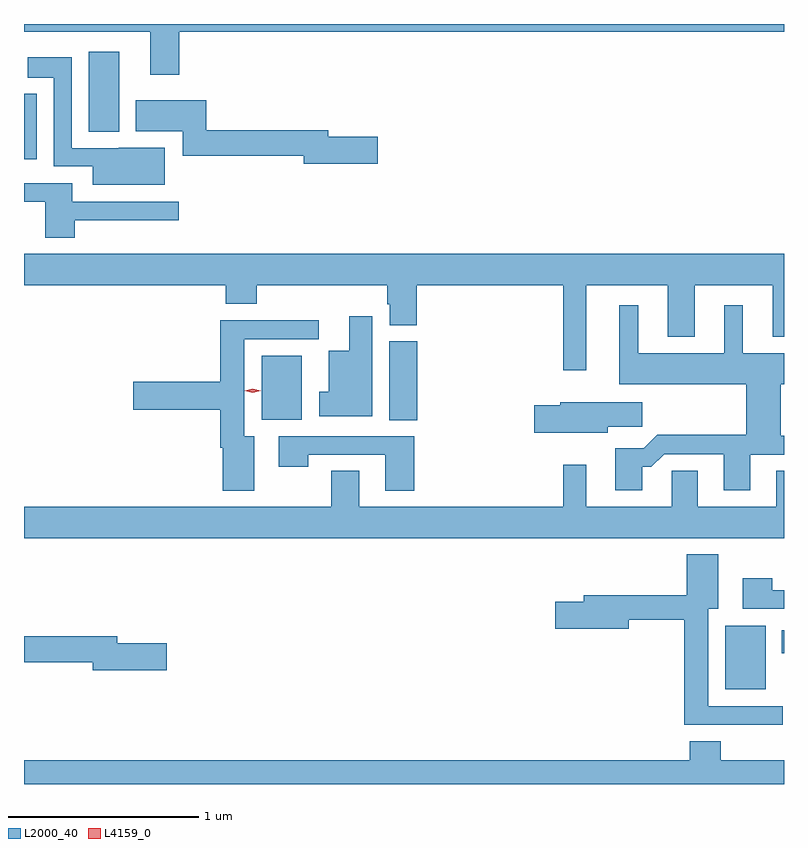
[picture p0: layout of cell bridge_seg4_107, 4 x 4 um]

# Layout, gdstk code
import gdstk
lib = gdstk.Library(unit=1e-6, precision=1e-09)
def R(c, l, rs):  # rectangles x0, y0, x1, y1
    for r in rs: c.add(gdstk.rectangle(r[:2], r[2:], *l))
def P(c, l, *ps):  # polygons
    for p in ps: c.add(gdstk.Polygon(p, *l))
L2000_40 = (2000, 40)
L4159_0 = (4159, 0)

bridge_seg4_107 = lib.new_cell('bridge_seg4_107')
R(bridge_seg4_107, L2000_40, [(540.746,765.389,540.958,765.724), (541.043,765.578,541.054,765.7), (538.976,766.804,539.123,767.22), (538.304,766.808,538.516,767.143), (537.054,768.177,537.121,768.523), (537.395,768.323,537.556,768.745)])
P(bridge_seg4_107, L2000_40, [(537.872,768.848),(541.054,768.848),(541.054,768.89),(537.054,768.89),(537.054,768.848),(537.719,768.848),(537.719,768.624),(537.872,768.624)],
  [(537.796,768.238),(537.552,768.238),(537.552,768.237),(537.306,768.237),(537.306,768.715),(537.075,768.715),(537.075,768.608),(537.21,768.608),(537.21,768.141),(537.416,768.141),(537.416,768.044),(537.796,768.044)],
  [(538.915,768.296),(538.654,768.296),(538.654,768.332),(538.013,768.332),(538.013,768.49),(537.641,768.49),(537.641,768.326),(537.89,768.326),(537.89,768.196),(538.526,768.196),(538.526,768.154),(538.915,768.154)],
  [(537.32,767.858),(537.868,767.858),(537.868,767.955),(537.307,767.955),(537.307,768.051),(537.054,768.051),(537.054,767.955),(537.167,767.955),(537.167,767.766),(537.32,767.766)],
  [(540.013,767.516),(540.443,767.516),(540.443,767.243),(540.583,767.243),(540.583,767.516),(540.995,767.516),(540.995,767.243),(541.054,767.243),(541.054,767.68),(537.054,767.68),(537.054,767.516),(538.115,767.516),(538.115,767.417),(538.28,767.417),(538.28,767.516),(538.967,767.516),(538.967,767.415),(538.979,767.415),(538.979,767.305),(539.12,767.305),(539.12,767.516),(539.892,767.516),(539.892,767.067),(540.013,767.067)],
  [(540.307,766.559),(540.356,766.559),(540.423,766.626),(540.737,766.626),(540.737,766.437),(540.877,766.437),(540.877,766.623),(541.054,766.623),(541.054,766.724),(541.037,766.724),(541.037,766.994),(541.054,766.994),(541.054,767.158),(540.838,767.158),(540.838,767.41),(540.74,767.41),(540.74,767.158),(540.286,767.158),(540.286,767.41),(540.188,767.41),(540.188,766.994),(540.854,766.994),(540.854,766.727),(540.386,766.727),(540.316,766.657),(540.167,766.657),(540.167,766.437),(540.307,766.437)],
  [(538.888,767.353),(538.766,767.353),(538.766,767.17),(538.658,767.17),(538.658,766.954),(538.607,766.954),(538.607,766.826),(538.888,766.826)],
  [(538.267,766.72),(538.213,766.72),(538.213,767.232),(538.606,767.232),(538.606,767.33),(538.088,767.33),(538.088,767.006),(537.63,767.006),(537.63,766.859),(538.088,766.859),(538.088,766.661),(538.1,766.661),(538.1,766.434),(538.267,766.434)],
  [(540.127,766.771),(540.307,766.771),(540.307,766.9),(539.876,766.9),(539.876,766.883),(539.739,766.883),(539.739,766.739),(540.127,766.739)],
  [(539.108,766.719),(538.395,766.719),(538.395,766.56),(538.551,766.56),(538.551,766.623),(538.955,766.623),(538.955,766.434),(539.108,766.434)],
  [(541.054,766.538),(541.013,766.538),(541.013,766.348),(540.601,766.348),(540.601,766.538),(540.462,766.538),(540.462,766.348),(540.013,766.348),(540.013,766.57),(539.892,766.57),(539.892,766.348),(538.819,766.348),(538.819,766.538),(538.672,766.538),(538.672,766.348),(537.054,766.348),(537.054,766.184),(541.054,766.184)],
  [(541.048,765.3),(540.655,765.3),(540.655,765.812),(540.709,765.812),(540.709,766.099),(540.542,766.099),(540.542,765.883),(539.999,765.883),(539.999,765.849),(539.85,765.849),(539.85,765.707),(540.238,765.707),(540.238,765.754),(540.53,765.754),(540.53,765.203),(541.048,765.203)],
  [(541.054,765.909),(540.993,765.909),(540.993,765.973),(540.837,765.973),(540.837,765.813),(541.054,765.813)],
  [(537.805,765.632),(537.544,765.632),(537.544,765.668),(537.054,765.668),(537.054,765.532),(537.416,765.532),(537.416,765.49),(537.805,765.49)],
  [(541.054,765.016),(540.722,765.016),(540.722,765.115),(540.557,765.115),(540.557,765.016),(537.054,765.016),(537.054,764.89),(541.054,764.89)])
P(bridge_seg4_107, L4159_0, [(538.258,766.949),(538.217,766.959),(538.217,766.959),(538.217,766.959),(538.258,766.969),(538.299,766.96),(538.299,766.96),(538.299,766.96)])

lib.write_gds('bridge_seg4_107.gds')
